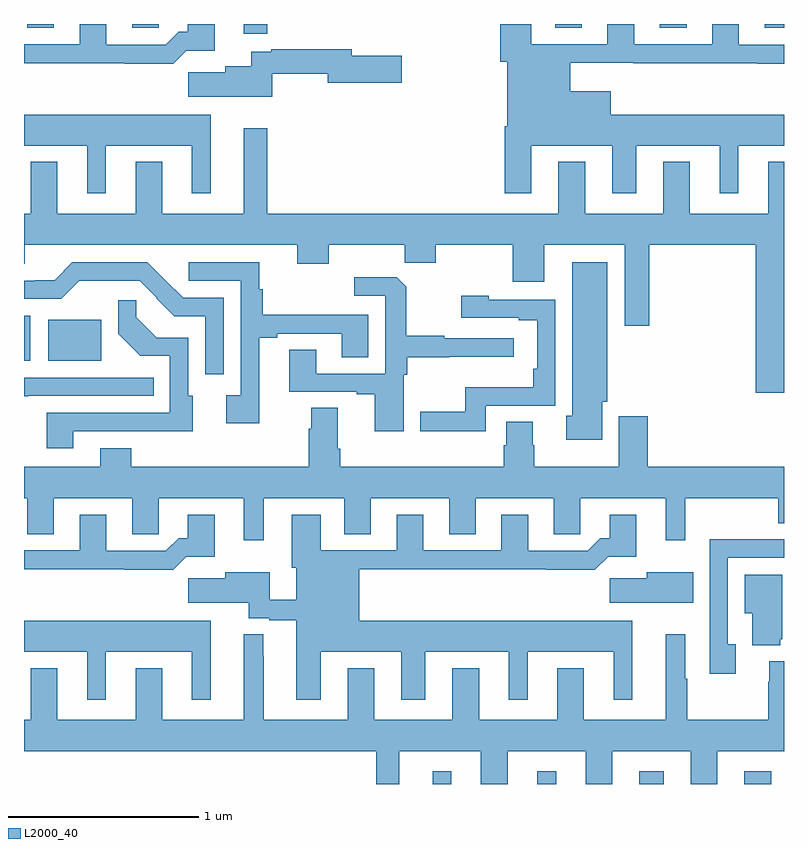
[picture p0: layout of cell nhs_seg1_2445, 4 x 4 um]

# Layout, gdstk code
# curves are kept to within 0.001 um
import gdstk
lib = gdstk.Library(unit=1e-6, precision=1e-09)
def R(c, l, rs):  # rectangles x0, y0, x1, y1
    for r in rs: c.add(gdstk.rectangle(r[:2], r[2:], *l))
def P(c, l, *ps):  # polygons
    for p in ps: c.add(gdstk.Polygon(p, *l))
L2000_40 = (2000, 40)

nhs_seg1_2445 = lib.new_cell('nhs_seg1_2445')
R(nhs_seg1_2445, L2000_40, [(245.15,578.199,245.248,578.266), (245.702,578.199,245.8,578.266), (246.239,578.199,246.367,578.266), (246.791,578.199,246.932,578.266), (243,580.427,243.034,580.663), (243.128,580.427,243.406,580.642), (244.157,582.147,244.279,582.199), (243.017,582.178,243.157,582.199), (243.569,582.178,243.708,582.199), (245.795,582.178,245.935,582.199), (246.347,582.178,246.487,582.199), (246.899,582.178,247,582.199)])
P(nhs_seg1_2445, L2000_40, [(243.854,582.059),(244.003,582.059),(244.003,582.199),(243.863,582.199),(243.863,582.157),(243.814,582.157),(243.747,582.09),(243.433,582.09),(243.433,582.199),(243.293,582.199),(243.293,582.093),(243,582.093),(243,581.992),(243.529,581.992),(243.529,581.99),(243.785,581.99)],
  [(245.671,581.558),(246.095,581.558),(246.095,581.307),(246.223,581.307),(246.223,581.558),(246.662,581.558),(246.662,581.307),(246.76,581.307),(246.76,581.558),(247,581.558),(247,581.722),(246.088,581.722),(246.088,581.845),(245.875,581.845),(245.875,581.996),(246.207,581.996),(246.207,581.992),(246.859,581.992),(246.859,581.99),(247,581.99),(247,582.09),(246.763,582.09),(246.763,582.199),(246.623,582.199),(246.623,582.093),(246.211,582.093),(246.211,582.199),(246.071,582.199),(246.071,582.093),(245.671,582.093),(245.671,582.199),(245.507,582.199),(245.507,582),(245.543,582),(245.543,581.662),(245.531,581.662),(245.531,581.307),(245.671,581.307)],
  [(244.306,581.938),(244.598,581.938),(244.598,581.891),(244.987,581.891),(244.987,582.033),(244.726,582.033),(244.726,582.067),(244.3,582.067),(244.3,582.054),(244.196,582.054),(244.196,581.977),(244.058,581.977),(244.058,581.945),(243.864,581.945),(243.864,581.816),(244.306,581.816)],
  [(243.43,581.558),(243.884,581.558),(243.884,581.307),(243.982,581.307),(243.982,581.722),(243,581.722),(243,581.558),(243.332,581.558),(243.332,581.307),(243.43,581.307)],
  [(245.813,581.473),(245.813,581.2),(244.279,581.2),(244.279,581.65),(244.157,581.65),(244.157,581.2),(243.727,581.2),(243.727,581.473),(243.587,581.473),(243.587,581.2),(243.175,581.2),(243.175,581.473),(243.035,581.473),(243.035,581.2),(243,581.2),(243,580.938),(243.004,580.938),(243.004,581.036),(244.439,581.036),(244.439,580.937),(244.603,580.937),(244.603,581.036),(245.003,581.036),(245.003,580.943),(245.167,580.943),(245.167,581.036),(245.573,581.036),(245.573,580.842),(245.737,580.842),(245.737,581.036),(246.161,581.036),(246.161,580.611),(246.29,580.611),(246.29,581.036),(246.851,581.036),(246.851,580.257),(247,580.257),(247,581.473),(246.917,581.473),(246.917,581.2),(246.505,581.2),(246.505,581.473),(246.365,581.473),(246.365,581.2),(245.953,581.2),(245.953,581.473)],
  [(246.043,580.212),(246.07,580.212),(246.07,580.945),(245.885,580.945),(245.885,580.136),(245.855,580.136),(245.855,580.01),(246.043,580.01)],
  [(244.05,580.758),(243.837,580.758),(243.649,580.944),(243.255,580.944),(243.161,580.85),(243.056,580.85),(243.056,580.848),(243,580.848),(243,580.752),(243.195,580.752),(243.29,580.847),(243.609,580.848),(243.699,580.758),(243.697,580.756),(243.791,580.662),(243.954,580.662),(243.954,580.356),(244.05,580.356)],
  [(244.237,580.549),(244.333,580.549),(244.333,580.569),(244.673,580.569),(244.673,580.444),(244.813,580.444),(244.813,580.67),(244.256,580.67),(244.256,580.802),(244.238,580.802),(244.238,580.944),(243.867,580.944),(243.867,580.848),(244.14,580.848),(244.14,580.246),(244.065,580.246),(244.065,580.098),(244.237,580.098)],
  [(244.998,580.352),(245.018,580.352),(245.018,580.444),(245.237,580.444),(245.237,580.448),(245.578,580.448),(245.578,580.545),(245.213,580.545),(245.213,580.558),(245.013,580.558),(245.013,580.815),(244.961,580.867),(244.737,580.867),(244.737,580.77),(244.902,580.77),(244.902,580.359),(244.537,580.359),(244.537,580.484),(244.397,580.484),(244.397,580.263),(244.751,580.263),(244.751,580.251),(244.847,580.251),(244.847,580.056),(244.998,580.056)],
  [(245.43,580.191),(245.796,580.191),(245.796,580.749),(245.445,580.749),(245.445,580.768),(245.301,580.768),(245.301,580.653),(245.603,580.653),(245.603,580.641),(245.7,580.641),(245.7,580.384),(245.68,580.384),(245.68,580.288),(245.322,580.288),(245.322,580.157),(245.085,580.157),(245.085,580.055),(245.43,580.055)],
  [(243.259,580.056),(243.889,580.055),(243.889,580.242),(243.864,580.242),(243.864,580.548),(243.698,580.548),(243.59,580.656),(243.59,580.744),(243.495,580.744),(243.495,580.568),(243.611,580.452),(243.768,580.452),(243.768,580.152),(243.119,580.152),(243.119,579.966),(243.259,579.966)],
  [(243.023,580.242),(243.683,580.242),(243.683,580.338),(243,580.338),(243,580.241),(243.023,580.241)],
  [(244.261,579.704),(244.685,579.704),(244.685,579.514),(244.825,579.514),(244.825,579.704),(245.237,579.704),(245.237,579.514),(245.377,579.514),(245.377,579.704),(245.789,579.704),(245.789,579.514),(245.928,579.514),(245.928,579.704),(246.377,579.704),(246.377,579.483),(246.481,579.483),(246.481,579.704),(246.97,579.704),(246.97,579.571),(247,579.571),(247,579.868),(246.284,579.868),(246.284,580.135),(246.131,580.135),(246.131,579.868),(245.685,579.868),(245.685,579.981),(245.677,579.981),(245.677,580.106),(245.537,580.106),(245.537,579.981),(245.525,579.981),(245.525,579.868),(244.664,579.868),(244.664,579.964),(244.651,579.964),(244.651,580.178),(244.511,580.178),(244.511,580.07),(244.499,580.07),(244.499,579.868),(243.565,579.868),(243.565,579.967),(243.401,579.967),(243.401,579.868),(243,579.868),(243,579.704),(243.017,579.704),(243.017,579.514),(243.157,579.514),(243.157,579.704),(243.569,579.704),(243.569,579.514),(243.708,579.514),(243.708,579.704),(244.157,579.704),(244.157,579.483),(244.261,579.483)],
  [(244.561,578.894),(244.985,578.894),(244.985,578.643),(245.113,578.643),(245.113,578.894),(245.552,578.894),(245.552,578.643),(245.65,578.643),(245.65,578.894),(246.104,578.894),(246.104,578.643),(246.202,578.643),(246.202,579.058),(244.765,579.058),(244.765,579.328),(245.749,579.328),(245.749,579.326),(246.005,579.326),(246.074,579.395),(246.223,579.395),(246.223,579.616),(246.083,579.616),(246.083,579.493),(246.034,579.493),(245.967,579.426),(245.653,579.426),(245.653,579.616),(245.513,579.616),(245.513,579.429),(245.101,579.429),(245.101,579.616),(244.961,579.616),(244.961,579.429),(244.561,579.429),(244.561,579.616),(244.409,579.616),(244.409,579.336),(244.433,579.336),(244.433,579.169),(244.294,579.169),(244.294,579.313),(244.058,579.313),(244.058,579.281),(243.864,579.281),(243.864,579.152),(244.184,579.152),(244.184,579.072),(244.29,579.072),(244.29,579.061),(244.433,579.061),(244.433,578.643),(244.561,578.643)],
  [(243.854,579.395),(244.003,579.395),(244.003,579.616),(243.863,579.616),(243.863,579.493),(243.814,579.493),(243.747,579.426),(243.433,579.426),(243.433,579.616),(243.293,579.616),(243.293,579.429),(243,579.429),(243,579.328),(243.529,579.328),(243.529,579.326),(243.785,579.326)],
  [(246.745,578.934),(246.705,578.934),(246.705,579.39),(247,579.39),(247,579.486),(246.881,579.486),(246.881,579.488),(246.609,579.488),(246.609,578.778),(246.745,578.778)],
  [(246.523,579.313),(246.278,579.313),(246.278,579.281),(246.084,579.281),(246.084,579.152),(246.523,579.152)],
  [(246.98,578.961),(246.991,578.961),(246.991,579.301),(246.794,579.301),(246.794,579.098),(246.833,579.098),(246.833,578.93),(246.98,578.93)],
  [(243.43,578.894),(243.884,578.894),(243.884,578.643),(243.982,578.643),(243.982,579.058),(243,579.058),(243,578.894),(243.332,578.894),(243.332,578.643),(243.43,578.643)],
  [(244.975,578.372),(245.405,578.372),(245.405,578.199),(245.545,578.199),(245.545,578.372),(245.957,578.372),(245.957,578.199),(246.097,578.199),(246.097,578.372),(246.509,578.372),(246.509,578.199),(246.649,578.199),(246.649,578.372),(247,578.372),(247,578.845),(246.923,578.845),(246.923,578.738),(246.916,578.738),(246.916,578.536),(246.491,578.536),(246.491,578.753),(246.481,578.753),(246.481,578.986),(246.377,578.986),(246.377,578.536),(245.947,578.536),(245.947,578.809),(245.807,578.809),(245.807,578.536),(245.395,578.536),(245.395,578.809),(245.255,578.809),(245.255,578.536),(244.843,578.536),(244.843,578.809),(244.703,578.809),(244.703,578.536),(244.261,578.536),(244.261,578.873),(244.26,578.873),(244.26,578.986),(244.157,578.986),(244.157,578.536),(243.727,578.536),(243.727,578.809),(243.587,578.809),(243.587,578.536),(243.175,578.536),(243.175,578.809),(243.035,578.809),(243.035,578.536),(243,578.536),(243,578.372),(244.854,578.372),(244.854,578.199),(244.975,578.199)])

lib.write_gds('nhs_seg1_2445.gds')
